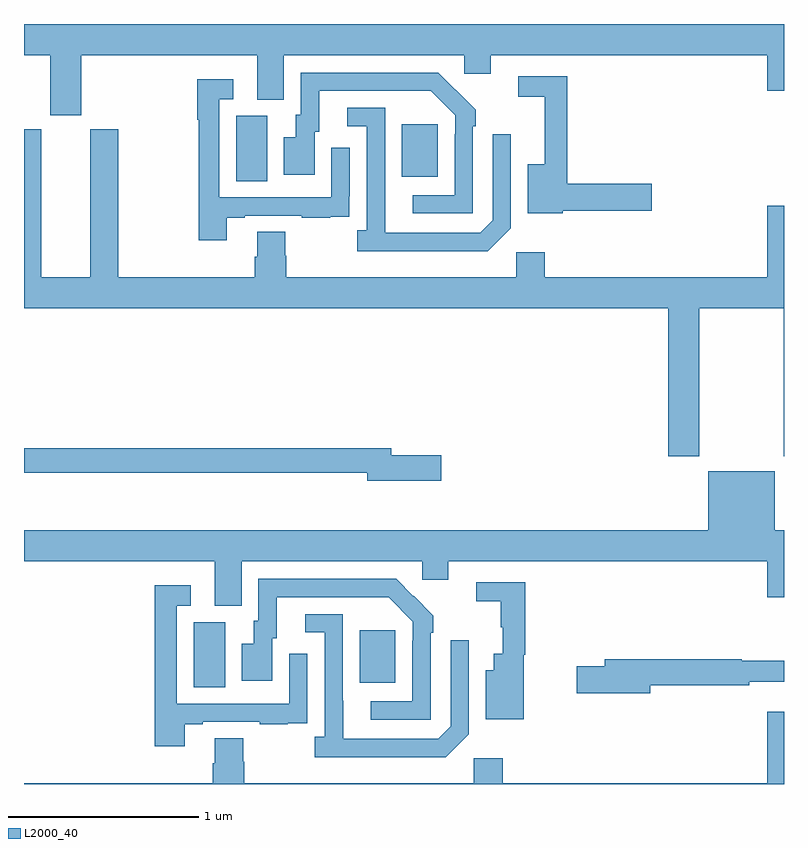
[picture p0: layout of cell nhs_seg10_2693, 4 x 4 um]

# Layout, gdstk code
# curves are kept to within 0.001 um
import gdstk
lib = gdstk.Library(unit=1e-6, precision=1e-09)
def R(c, l, rs):  # rectangles x0, y0, x1, y1
    for r in rs: c.add(gdstk.rectangle(r[:2], r[2:], *l))
def P(c, l, *ps):  # polygons
    for p in ps: c.add(gdstk.Polygon(p, *l))
L2000_40 = (2000, 40)

nhs_seg10_2693 = lib.new_cell('nhs_seg10_2693')
R(nhs_seg10_2693, L2000_40, [(257.894,1277.008,258.058,1277.352), (258.767,1277.033,258.955,1277.308), (258.116,1279.672,258.28,1280.016), (258.989,1279.697,259.177,1279.972)])
P(nhs_seg10_2693, L2000_40, [(257.302,1280.336),(258.227,1280.336),(258.227,1280.101),(258.367,1280.101),(258.367,1280.336),(259.317,1280.336),(259.317,1280.238),(259.456,1280.238),(259.456,1280.336),(260.912,1280.336),(260.912,1280.148),(261,1280.148),(261,1280.5),(257,1280.5),(257,1280.336),(257.138,1280.336),(257.138,1280.019),(257.302,1280.019)],
  [(259.362,1279.961),(259.377,1279.961),(259.377,1280.049),(259.18,1280.244),(258.456,1280.244),(258.456,1280.022),(258.431,1280.022),(258.431,1279.903),(258.368,1279.903),(258.368,1279.707),(258.529,1279.707),(258.529,1279.932),(258.553,1279.932),(258.553,1280.148),(259.141,1280.148),(259.269,1280.019),(259.269,1279.919),(259.266,1279.919),(259.266,1279.599),(259.047,1279.599),(259.047,1279.503),(259.362,1279.503)],
  [(259.836,1279.516),(260.305,1279.516),(260.305,1279.658),(259.859,1279.658),(259.859,1280.226),(259.602,1280.226),(259.602,1280.118),(259.742,1280.118),(259.742,1279.762),(259.652,1279.762),(259.652,1279.505),(259.836,1279.505)],
  [(258.067,1279.479),(258.163,1279.479),(258.163,1279.491),(258.463,1279.491),(258.463,1279.479),(258.611,1279.479),(258.611,1279.485),(258.713,1279.485),(258.713,1279.594),(258.714,1279.594),(258.714,1279.849),(258.618,1279.849),(258.618,1279.587),(258.027,1279.587),(258.027,1280.103),(258.1,1280.103),(258.1,1280.209),(257.911,1280.209),(257.911,1279.996),(257.919,1279.996),(257.919,1279.362),(258.067,1279.362)],
  [(259.563,1279.425),(259.563,1279.921),(259.467,1279.921),(259.467,1279.467),(259.401,1279.401),(258.901,1279.401),(258.9,1280.058),(258.702,1280.058),(258.702,1279.962),(258.804,1279.962),(258.804,1279.414),(258.753,1279.414),(258.753,1279.304),(259.442,1279.304)],
  [(260.392,1278.225),(260.553,1278.225),(260.553,1279.004),(260.998,1279.004),(260.998,1278.225),(261,1278.225),(261,1279.543),(260.912,1279.543),(260.912,1279.168),(259.742,1279.168),(259.742,1279.3),(259.59,1279.3),(259.59,1279.168),(258.38,1279.168),(258.38,1279.281),(258.375,1279.281),(258.375,1279.406),(258.227,1279.406),(258.227,1279.274),(258.215,1279.274),(258.215,1279.168),(257.496,1279.168),(257.496,1279.947),(257.348,1279.947),(257.348,1279.168),(257.092,1279.168),(257.092,1279.947),(257,1279.947),(257,1279.004),(260.392,1279.004)],
  [(259.195,1278.23),(258.934,1278.23),(258.934,1278.266),(257,1278.266),(257,1278.138),(258.806,1278.138),(258.806,1278.095),(259.195,1278.095)],
  [(258.145,1277.672),(259.095,1277.672),(259.095,1277.574),(259.234,1277.574),(259.234,1277.672),(260.912,1277.672),(260.912,1277.484),(261,1277.484),(261,1277.836),(260.95,1277.836),(260.95,1278.145),(260.6,1278.145),(260.6,1277.836),(257,1277.836),(257,1277.672),(258.005,1277.672),(258.005,1277.437),(258.145,1277.437)],
  [(259.14,1277.297),(259.155,1277.297),(259.155,1277.385),(258.958,1277.58),(258.234,1277.58),(258.234,1277.358),(258.209,1277.358),(258.209,1277.239),(258.146,1277.239),(258.146,1277.043),(258.307,1277.043),(258.307,1277.268),(258.331,1277.268),(258.331,1277.484),(258.919,1277.484),(259.047,1277.355),(259.047,1277.255),(259.044,1277.255),(259.044,1276.935),(258.825,1276.935),(258.825,1276.839),(259.14,1276.839)],
  [(259.63,1277.181),(259.637,1277.181),(259.637,1277.562),(259.38,1277.562),(259.38,1277.461),(259.509,1277.461),(259.509,1277.325),(259.52,1277.325),(259.52,1277.185),(259.472,1277.185),(259.472,1277.098),(259.43,1277.098),(259.43,1276.841),(259.63,1276.841)],
  [(257.845,1276.815),(257.941,1276.815),(257.941,1276.827),(258.241,1276.827),(258.241,1276.815),(258.389,1276.815),(258.389,1276.821),(258.491,1276.821),(258.491,1276.93),(258.492,1276.93),(258.492,1277.185),(258.396,1277.185),(258.396,1276.923),(257.805,1276.923),(257.805,1277.439),(257.878,1277.439),(257.878,1277.545),(257.689,1277.545),(257.689,1276.698),(257.845,1276.698)],
  [(259.341,1276.761),(259.341,1277.257),(259.245,1277.257),(259.245,1276.803),(259.179,1276.737),(258.679,1276.737),(258.678,1277.394),(258.48,1277.394),(258.48,1277.298),(258.582,1277.298),(258.582,1276.75),(258.531,1276.75),(258.531,1276.64),(259.22,1276.64)],
  [(260.296,1277.02),(260.816,1277.02),(260.816,1277.039),(261,1277.039),(261,1277.149),(260.778,1277.149),(260.778,1277.156),(260.057,1277.156),(260.057,1277.12),(259.908,1277.12),(259.908,1276.978),(260.296,1276.978)],
  [(261,1276.879),(260.912,1276.879),(260.912,1276.504),(259.52,1276.504),(259.52,1276.636),(259.368,1276.636),(259.368,1276.504),(258.158,1276.504),(258.158,1276.617),(258.153,1276.617),(258.153,1276.742),(258.005,1276.742),(258.005,1276.61),(257.993,1276.61),(257.993,1276.504),(257,1276.504),(257,1276.5),(261,1276.5)])

lib.write_gds('nhs_seg10_2693.gds')
